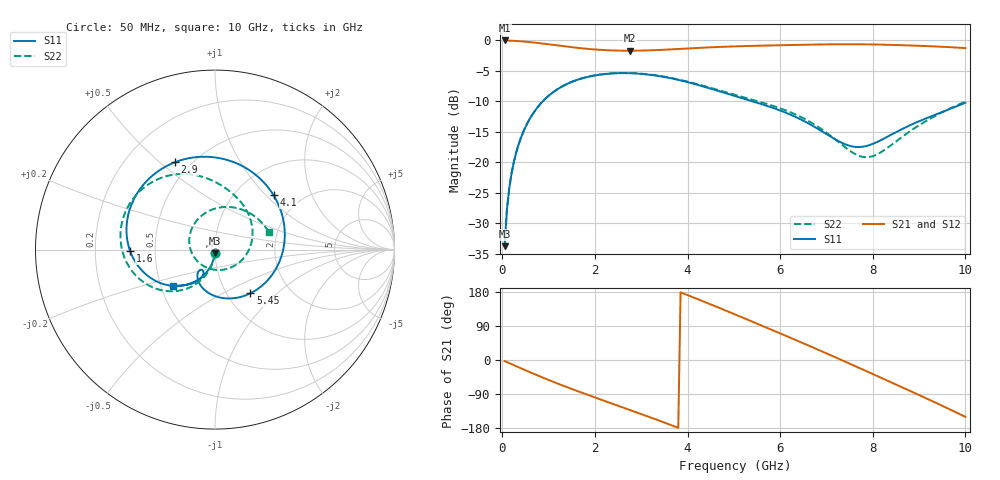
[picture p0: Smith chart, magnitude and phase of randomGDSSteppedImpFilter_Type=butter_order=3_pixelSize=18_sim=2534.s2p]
! freq	dB(S11)	phase(S11)	dB(S12)	phase(S12)
!  dB(S21)	phase(S21)	dB(S22)	phase(S22)
!S-par simulation data
#  GHz  S  DB  R 50
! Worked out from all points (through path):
!   200 points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, 50 MHz to 10 GHz, reference 50 ohm
!   highest |S21| = -0.01 dB at 50 MHz (marker M1); lowest = -1.7 dB at 2.75 GHz (marker M2)
!   group delay of S21, straight-line fit = 139 ps
!   lowest |S11| = -33.7 dB at 50 MHz (marker M3), VSWR 1.04, Z = 49.8 - j2.05 ohm
!   |S11| at or under -10 dB: start of sweep to 872 MHz; 5.414 GHz to end of sweep
!   |S22| runs from -33.7 to -5.3 dB; largest |S21 - S12| = 0
!   S11 on the Smith chart (normalised r, x): 50 MHz: 1.00, -0.04; 1.6 GHz: 0.36, -0.01; 2.9 GHz: 0.41, +0.56; 4.1 GHz: 1.47, +1.11; 5.45 GHz: 1.28, -0.69; 10 GHz: 0.58, -0.26
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0.05  -33.72 -93.0  -0.01 -2.8  -0.01 -2.8  -33.72 -92.6
0.1  -27.72 -96.3  -0.02 -5.5  -0.02 -5.5  -27.72 -95.4
0.2  -21.79 -102.4  -0.05 -11.0  -0.05 -11.0  -21.78 -100.8
0.45  -15.05 -116.9  -0.17 -24.4  -0.17 -24.4  -15.04 -113.2
1  -9.08 -147.5  -0.64 -52.7  -0.64 -52.7  -9.07 -139.0
1.6  -6.51 -178.9  -1.20 -81.0  -1.20 -81.0  -6.50 -164.3
1.75  -6.16 173.5  -1.32 -87.7  -1.32 -87.7  -6.15 -170.2
2.75  -5.37 122.6  -1.69 -131.4  -1.69 -131.4  -5.34 153.6
2.9  -5.42 114.6  -1.68 -138.0  -1.68 -138.0  -5.39 148.6
3.4  -5.86 86.5  -1.56 -160.5  -1.56 -160.5  -5.81 132.1
4.1  -7.03 42.7  -1.28 166.5  -1.28 166.5  -6.94 110.5
5.05  -9.16 -23.5  -0.96 119.1  -0.96 119.1  -8.96 83.4
5.45  -10.08 -51.1  -0.88 98.6  -0.88 98.6  -9.82 71.0
6.05  -11.63 -88.1  -0.78 67.7  -0.78 67.7  -11.26 47.8
6.7  -13.98 -117.4  -0.68 33.5  -0.68 33.5  -13.59 12.4
7.5  -17.27 -125.1  -0.62 -9.5  -0.62 -9.5  -18.05 -60.2
7.9  -17.22 -118.1  -0.65 -31.5  -0.65 -31.5  -19.13 -116.1
8.35  -15.65 -115.2  -0.72 -56.3  -0.72 -56.3  -17.42 -177.8
8.75  -14.10 -118.6  -0.81 -78.5  -0.81 -78.5  -15.16 137.7
9.15  -12.77 -124.5  -0.92 -100.9  -0.92 -100.9  -13.21 98.4
9.6  -11.43 -132.0  -1.08 -126.6  -1.08 -126.6  -11.40 55.9
10  -10.21 -139.2  -1.26 -150.0  -1.26 -150.0  -10.03 18.1
